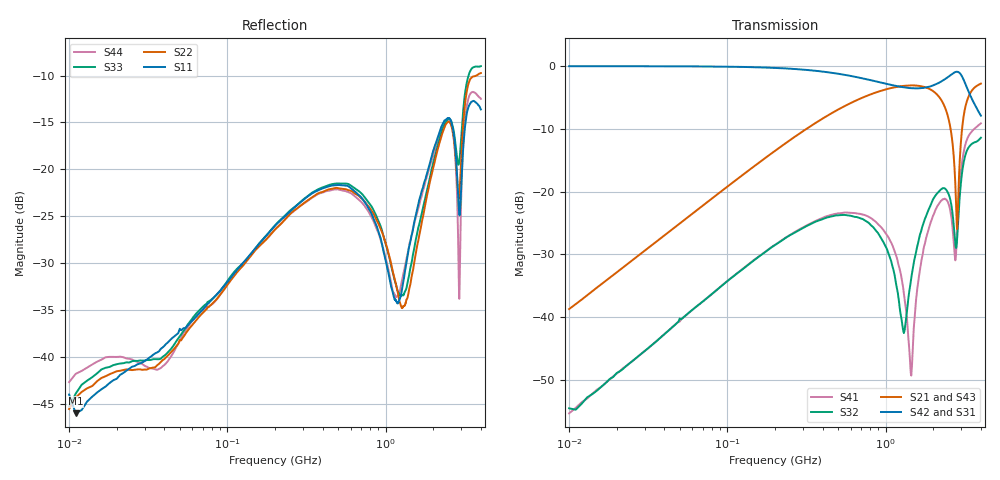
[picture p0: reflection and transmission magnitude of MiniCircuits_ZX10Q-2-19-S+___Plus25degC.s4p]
!Mini Circuits Lab.;
!S-parameters;
!Model:ZX10Q-2-19-S+;  Unit 1;
!Run:H60440; Lot: N/A;  Date Code: N/A;
!Fixture: N/R;  S/N: N/A;  Due: N/A;
!Connection: Port1 to INPUT PORT (Conn.1); Port2 to PORT 1 (+90°) (Conn.2); Port3 to PORT 2 (0°) (Conn.3); Port4 to 50 OHM TERM EXTERNAL (Conn.4)
!Tested with PNA-X Network Analyzer N5242A, S/N:71765, Due:09/22/11
# MHZ S DB R 50
!Frequency  S11 dB  S11 DEG  S12 dB  S12 DEG  S13 dB  S13 DEG  S14 dB  S14 DEG
!  S21 dB  S21 DEG  S22 dB  S22 DEG  S23 dB  S23 DEG  S24 dB  S24 DEG
!  S31 dB  S31 DEG  S32 dB  S32 DEG  S33 dB  S33 DEG  S34 dB  S34 DEG
!  S41 dB  S41 DEG  S42 dB  S42 DEG  S43 dB  S43 DEG  S44 dB  S44 DEG
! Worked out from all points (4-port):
!   1591 points, 10 MHz to 4 GHz, reference 50 ohm
!   strongest paths, dB at 10 MHz, 1.207 GHz, 1.605 GHz, 2.015 GHz, 4 GHz:
!     S42: -0.1, -3.3, -3.6, -3.1, -7.9
!     S31: 0.0, -3.3, -3.6, -3.1, -8.0
!     S21: -38.7, -3.3, -3.2, -4.1, -2.8
!     S43: -38.7, -3.3, -3.2, -4.1, -3.0
!     S32: -54.5, -36.9, -28.2, -21.1, -11.4
!     S41: -55.3, -31.7, -34.5, -23.6, -9.2
!   lowest |S11| = -46.0 dB at 11 MHz (marker M1), VSWR 1.01, Z = 50.5 - j0.0404 ohm
!   |S11| at or under -10 dB: start of sweep to end of sweep
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10  -43.98 16.5  -38.74 84.0  -0.05 -1.9  -54.64 112.0
    -38.70 85.4  -45.53 16.7  -55.67 110.7  -0.03 -1.6
    -0.05 -1.8  -54.48 125.3  -45.30 21.9  -38.95 83.9
    -55.28 121.8  -0.06 -2.0  -38.71 83.9  -42.67 47.2
11  -45.99 -4.6  -37.93 84.8  -0.05 -2.0  -54.22 112.6
    -37.91 85.1  -44.32 14.9  -54.48 110.2  -0.04 -1.8
    -0.05 -1.9  -54.71 107.5  -43.90 18.8  -37.91 85.2
    -54.43 108.8  -0.06 -2.1  -37.95 85.2  -41.78 33.7
535  -21.70 176.0  -6.57 7.9  -1.38 -80.6  -23.39 -36.1
     -6.57 7.9  -22.07 -177.4  -23.72 -26.5  -1.38 -80.9
     -1.38 -80.6  -23.72 -26.5  -21.51 -176.9  -6.57 8.0
     -23.39 -36.1  -1.38 -80.8  -6.57 8.1  -22.27 175.0
1451  -27.19 -155.5  -3.10 -104.1  -3.56 165.8  -49.05 52.7
      -3.11 -104.1  -31.70 -144.8  -33.82 31.9  -3.56 165.1
      -3.56 165.8  -33.82 32.0  -30.13 -146.8  -3.11 -103.7
      -49.16 52.7  -3.56 165.2  -3.11 -103.8  -27.30 -164.0
2695  -16.25 46.6  -14.42 103.5  -1.14 -1.9  -28.16 47.5
      -14.43 103.5  -16.66 129.2  -25.35 174.7  -1.12 -2.8
      -1.13 -1.8  -25.34 174.7  -15.93 134.8  -14.34 106.4
      -28.16 48.0  -1.12 -2.8  -14.33 106.3  -16.81 51.8
2920  -24.75 -78.4  -16.70 -156.4  -1.11 -43.6  -20.14 -141.3
      -16.70 -156.4  -22.84 155.4  -21.90 -134.2  -1.09 -44.6
      -1.11 -43.5  -21.89 -134.2  -19.13 155.6  -16.58 -161.0
      -20.14 -141.3  -1.09 -44.5  -16.57 -161.0  -33.78 -89.3
4000  -13.61 -42.3  -2.82 57.4  -7.98 166.4  -9.16 -48.8
      -2.83 57.4  -9.74 64.3  -11.46 36.0  -7.97 165.3
      -7.97 166.5  -11.44 36.1  -9.00 61.7  -2.92 58.0
      -9.16 -48.8  -7.93 165.6  -2.95 58.0  -12.48 -46.5
